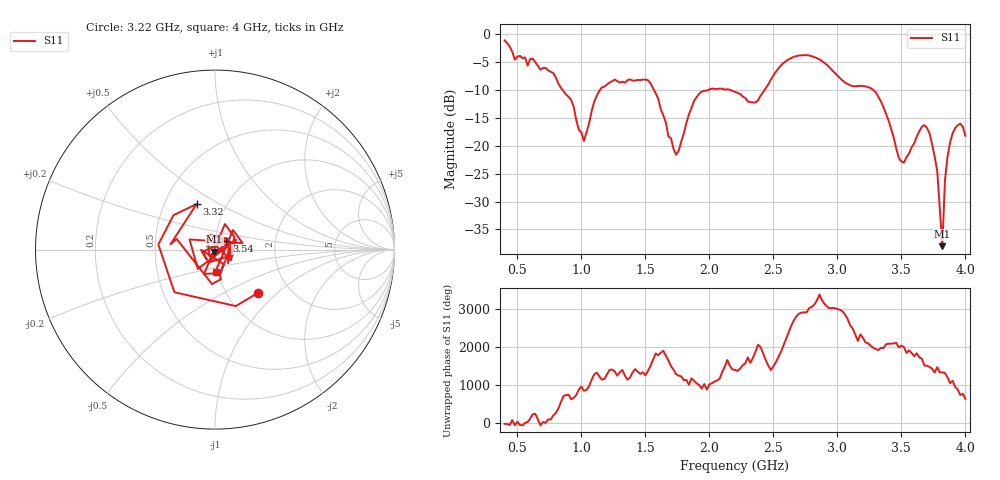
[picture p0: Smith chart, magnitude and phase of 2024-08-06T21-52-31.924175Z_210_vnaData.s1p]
!Created with skrf (http://scikit-rf.org).
# Hz S RI R 50.0
!freq ReS11 ImS11
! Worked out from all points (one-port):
!   181 points, 400 MHz to 4 GHz, reference 50 ohm
!   lowest |S11| = -38.0 dB at 3.82 GHz (marker M1), VSWR 1.03, Z = 49.6 - j1.18 ohm
!   |S11| at or under -10 dB: 853 MHz to 1.145 GHz (292.1 MHz wide, 29.2 % of centre); 1.567 GHz to 1.991 GHz (424.2 MHz wide, 23.8 % of centre); 3.281 GHz to end of sweep (the widest 3 of 4)
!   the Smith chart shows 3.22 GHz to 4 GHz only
!   S11 on the Smith chart (normalised r, x): 3.22 GHz: 1.39, -0.76; 3.32 GHz: 0.72, +0.40; 3.54 GHz: 1.13, +0.11; 4 GHz: 0.98, -0.24
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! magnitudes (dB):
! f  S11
! 400 MHz  -1.1
! 480 MHz  -4.6
! 620 MHz  -4.4
! 860 MHz  -10.2
! 1.02 GHz  -19.1
! 1.14 GHz  -10.2
! 1.3 GHz  -8.7
! 1.52 GHz  -8.3
! 1.76 GHz  -20.9
! 1.92 GHz  -10.7
! 2.2 GHz  -10.3
! 2.36 GHz  -12.3
! 2.66 GHz  -4.1
! 2.86 GHz  -4.5
! 3.1 GHz  -9.2
! 3.22 GHz  -9.4
! 3.32 GHz  -11.3
! 3.48 GHz  -22.2
! 3.54 GHz  -22.1
! 3.56 GHz  -21.4
! 3.66 GHz  -16.6
! 3.72 GHz  -17.8
! 3.78 GHz  -24.5
! 3.82 GHz  -38.0
! 3.84 GHz  -26.3
! 3.88 GHz  -19.5
! 3.96 GHz  -16.0
! 4 GHz  -18.2
